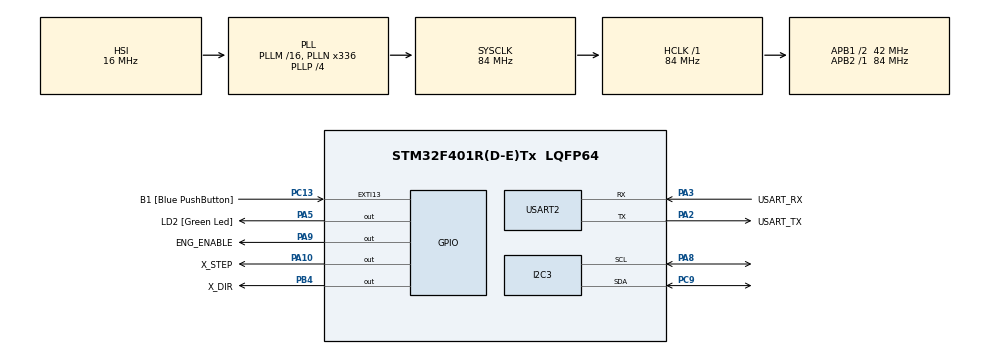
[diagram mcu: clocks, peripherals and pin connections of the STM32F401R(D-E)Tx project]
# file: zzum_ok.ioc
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FREERTOS.Tasks01=defaultTask,24,128,StartDefaultTask,Default,NULL,Dynamic,NULL,NULL;gcode_task,8,128,start_gcode_task,Default,NULL,Dynamic,NULL,NULL;encoder_task,8,128,start_encoder_task,Default,NULL,Dynamic,NULL,NULL;orzel_task,8,128,start_orzel_task,Default,NULL,Dynamic,NULL,NULL
FREERTOS.configUSE_NEWLIB_REENTRANT=1
Mcu.Family=STM32F4
Mcu.Name=STM32F401R(D-E)Tx
Mcu.Package=LQFP64
NVIC.PriorityGroup=NVIC_PRIORITYGROUP_4
NVIC.TIM2_IRQn=true\:15\:0\:false\:false\:true\:false\:false\:true\:true
NVIC.TimeBase=TIM2_IRQn
NVIC.TimeBaseIP=TIM2
PA10.GPIO_Label=X_STEP
PA10.Signal=GPIO_Output
PA13.GPIO_Label=TMS
PA13.Mode=Serial_Wire
PA13.Signal=SYS_JTMS-SWDIO
PA14.GPIO_Label=TCK
PA14.Mode=Serial_Wire
PA14.Signal=SYS_JTCK-SWCLK
PA2.GPIO_Label=USART_TX
PA2.GPIO_Mode=GPIO_MODE_AF_PP
PA2.GPIO_PuPd=GPIO_NOPULL
PA2.GPIO_Speed=GPIO_SPEED_FREQ_LOW
PA2.Mode=Asynchronous
PA2.Signal=USART2_TX
PA3.GPIO_Label=USART_RX
PA3.GPIO_Mode=GPIO_MODE_AF_PP
PA3.GPIO_PuPd=GPIO_NOPULL
PA3.GPIO_Speed=GPIO_SPEED_FREQ_LOW
PA3.Mode=Asynchronous
PA3.Signal=USART2_RX
PA5.GPIO_Label=LD2 [Green Led]
PA5.GPIO_Mode=GPIO_MODE_OUTPUT_PP
PA5.GPIO_PuPd=GPIO_NOPULL
PA5.GPIO_Speed=GPIO_SPEED_FREQ_LOW
PA5.Signal=GPIO_Output
PA8.GPIO_Pu=GPIO_PULLUP
PA8.Mode=I2C
PA8.Signal=I2C3_SCL
PA9.GPIO_Label=ENG_ENABLE
PA9.Signal=GPIO_Output
PB3.GPIO_Label=SWO
PB3.Signal=SYS_JTDO-SWO
PB4.GPIO_Label=X_DIR
PB4.Signal=GPIO_Output
PC13-ANTI_TAMP.GPIO_Label=B1 [Blue PushButton]
PC13-ANTI_TAMP.GPIO_ModeDefaultEXTI=GPIO_MODE_IT_FALLING
PC13-ANTI_TAMP.GPIO_PuPd=GPIO_NOPULL
PC13-ANTI_TAMP.Signal=GPXTI13
PC14-OSC32_IN.Mode=LSE-External-Oscillator
PC14-OSC32_IN.Signal=RCC_OSC32_IN
PC15-OSC32_OUT.Mode=LSE-External-Oscillator
PC15-OSC32_OUT.Signal=RCC_OSC32_OUT
PC9.GPIO_Pu=GPIO_PULLUP
PC9.Mode=I2C
PC9.Signal=I2C3_SDA
PH0\ -\ OSC_IN.Mode=HSE-External-Clock-Source
PH0\ -\ OSC_IN.Signal=RCC_OSC_IN
PH1\ -\ OSC_OUT.Mode=HSE-External-Clock-Source
PH1\ -\ OSC_OUT.Signal=RCC_OSC_OUT
ProjectManager.HeapSize=0x200
ProjectManager.StackSize=0x400
ProjectManager.TargetToolchain=STM32CubeIDE
RCC.48MHZClocksFreq_Value=48000000
RCC.AHBFreq_Value=84000000
RCC.APB1CLKDivider=RCC_HCLK_DIV2
RCC.APB1Freq_Value=42000000
RCC.APB1TimFreq_Value=84000000
RCC.APB2Freq_Value=84000000
RCC.APB2TimFreq_Value=84000000
RCC.CortexFreq_Value=84000000
RCC.HCLKFreq_Value=84000000
RCC.HSE_VALUE=8000000
RCC.HSI_VALUE=16000000
RCC.PLLN=336
RCC.PLLP=RCC_PLLP_DIV4
RCC.PLLQ=7
RCC.SYSCLKFreq_VALUE=84000000
RCC.SYSCLKSource=RCC_SYSCLKSOURCE_PLLCLK
RCC.VCOOutputFreq_Value=336000000
USART2.VirtualMode=VM_ASYNC
VP_FREERTOS_VS_CMSIS_V2.Mode=CMSIS_V2
VP_SYS_VS_tim2.Mode=TIM2
VP_TIM1_VS_ClockSourceINT.Mode=Internal
board=NUCLEO-F401RE

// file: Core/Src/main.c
/* USER CODE BEGIN Header */
/**
  ******************************************************************************
  * @file           : main.c
  * @brief          : Main program body
  ******************************************************************************
  * @attention
  *
  * Copyright (c) 2025 STMicroelectronics.
  * All rights reserved.
  *
  * This software is licensed under terms that can be found in the LICENSE file
  * in the root directory of this software component.
  * If no LICENSE file comes with this software, it is provided AS-IS.
  *
  ******************************************************************************
  */
/* USER CODE END Header */
#include "main.h"
#include "cmsis_os.h"
#include "as5600_hal.h"

I2C_HandleTypeDef hi2c3;

TIM_HandleTypeDef htim1;

UART_HandleTypeDef huart2;

/* Definitions for defaultTask */
osThreadId_t defaultTaskHandle;
const osThreadAttr_t defaultTask_attributes = {
  .name = "defaultTask",
  .stack_size = 128 * 4,
  .priority = (osPriority_t) osPriorityNormal,
};
/* Definitions for gcode_task */
osThreadId_t gcode_taskHandle;
const osThreadAttr_t gcode_task_attributes = {
  .name = "gcode_task",
  .stack_size = 128 * 4,
  .priority = (osPriority_t) osPriorityLow,
};
/* Definitions for encoder_task */
osThreadId_t encoder_taskHandle;
const osThreadAttr_t encoder_task_attributes = {
  .name = "encoder_task",
  .stack_size = 128 * 4,
  .priority = (osPriority_t) osPriorityLow,
};
/* Definitions for orzel_task */
osThreadId_t orzel_taskHandle;
const osThreadAttr_t orzel_task_attributes = {
  .name = "orzel_task",
  .stack_size = 128 * 4,
  .priority = (osPriority_t) osPriorityLow,
};
/* USER CODE BEGIN PV */
uint16_t raw;
/* USER CODE END PV */

void SystemClock_Config(void);
static void MX_GPIO_Init(void);
static void MX_USART2_UART_Init(void);
static void MX_I2C3_Init(void);
static void MX_TIM1_Init(void);
void StartDefaultTask(void *argument);
void start_gcode_task(void *argument);
void start_encoder_task(void *argument);
void start_orzel_task(void *argument);

int main(void)
{

  /* MCU Configuration--------------------------------------------------------*/

  /* Reset of all peripherals, Initializes the Flash interface and the Systick. */
  HAL_Init();

  /* Configure the system clock */
  SystemClock_Config();

  /* Initialize all configured peripherals */
  MX_GPIO_Init();
  MX_USART2_UART_Init();
  MX_I2C3_Init();
  MX_TIM1_Init();
  /* USER CODE BEGIN 2 */
  HAL_TIM_Base_Start(&htim1);
  /* USER CODE END 2 */

  /* Init scheduler */
  osKernelInitialize();

  /* Create the thread(s) */
  /* creation of defaultTask */
  defaultTaskHandle = osThreadNew(StartDefaultTask, NULL, &defaultTask_attributes);

  /* creation of gcode_task */
  gcode_taskHandle = osThreadNew(start_gcode_task, NULL, &gcode_task_attributes);

  /* creation of encoder_task */
  encoder_taskHandle = osThreadNew(start_encoder_task, NULL, &encoder_task_attributes);

  /* creation of orzel_task */
  orzel_taskHandle = osThreadNew(start_orzel_task, NULL, &orzel_task_attributes);

  /* Start scheduler */
  osKernelStart();

  /* We should never get here as control is now taken by the scheduler */

  /* Infinite loop */
  /* USER CODE BEGIN WHILE */

  while (1)
  {
	  for(int i=0; i < 32; i++){
		  HAL_GPIO_TogglePin(GPIOA, GPIO_PIN_10);
		  HAL_Delay(2);
	  }
	  HAL_Delay(20);
  	  if (AS5600_ReadRaw12(&raw))
  	  {
  		  printf("%u\r\n", raw);  // wypisz samą wartość surową
  	  }
  	  else
  	  {
  		  printf("error\r\n");
  	  }

    /* USER CODE END WHILE */

  }
}

void SystemClock_Config(void)
{
  RCC_OscInitTypeDef RCC_OscInitStruct = {0};
  RCC_ClkInitTypeDef RCC_ClkInitStruct = {0};

  /** Configure the main internal regulator output voltage
  */
  __HAL_RCC_PWR_CLK_ENABLE();
  __HAL_PWR_VOLTAGESCALING_CONFIG(PWR_REGULATOR_VOLTAGE_SCALE2);

  /** Initializes the RCC Oscillators according to the specified parameters
  * in the RCC_OscInitTypeDef structure.
  */
  RCC_OscInitStruct.OscillatorType = RCC_OSCILLATORTYPE_HSI;
  RCC_OscInitStruct.HSIState = RCC_HSI_ON;
  RCC_OscInitStruct.HSICalibrationValue = RCC_HSICALIBRATION_DEFAULT;
  RCC_OscInitStruct.PLL.PLLState = RCC_PLL_ON;
  RCC_OscInitStruct.PLL.PLLSource = RCC_PLLSOURCE_HSI;
  RCC_OscInitStruct.PLL.PLLM = 16;
  RCC_OscInitStruct.PLL.PLLN = 336;
  RCC_OscInitStruct.PLL.PLLP = RCC_PLLP_DIV4;
  RCC_OscInitStruct.PLL.PLLQ = 7;
  if (HAL_RCC_OscConfig(&RCC_OscInitStruct) != HAL_OK)
  {
    Error_Handler();
  }

  /** Initializes the CPU, AHB and APB buses clocks
  */
  RCC_ClkInitStruct.ClockType = RCC_CLOCKTYPE_HCLK|RCC_CLOCKTYPE_SYSCLK
                              |RCC_CLOCKTYPE_PCLK1|RCC_CLOCKTYPE_PCLK2;
  RCC_ClkInitStruct.SYSCLKSource = RCC_SYSCLKSOURCE_PLLCLK;
  RCC_ClkInitStruct.AHBCLKDivider = RCC_SYSCLK_DIV1;
  RCC_ClkInitStruct.APB1CLKDivider = RCC_HCLK_DIV2;
  RCC_ClkInitStruct.APB2CLKDivider = RCC_HCLK_DIV1;

  if (HAL_RCC_ClockConfig(&RCC_ClkInitStruct, FLASH_LATENCY_2) != HAL_OK)
  {
    Error_Handler();
  }
}

static void MX_I2C3_Init(void)
{

  hi2c3.Instance = I2C3;
  hi2c3.Init.ClockSpeed = 100000;
  hi2c3.Init.DutyCycle = I2C_DUTYCYCLE_2;
  hi2c3.Init.OwnAddress1 = 0;
  hi2c3.Init.AddressingMode = I2C_ADDRESSINGMODE_7BIT;
  hi2c3.Init.DualAddressMode = I2C_DUALADDRESS_DISABLE;
  hi2c3.Init.OwnAddress2 = 0;
  hi2c3.Init.GeneralCallMode = I2C_GENERALCALL_DISABLE;
  hi2c3.Init.NoStretchMode = I2C_NOSTRETCH_DISABLE;
  if (HAL_I2C_Init(&hi2c3) != HAL_OK)
  {
    Error_Handler();
  }

}

static void MX_TIM1_Init(void)
{

  TIM_ClockConfigTypeDef sClockSourceConfig = {0};
  TIM_MasterConfigTypeDef sMasterConfig = {0};

  htim1.Instance = TIM1;
  htim1.Init.Prescaler = 0;
  htim1.Init.CounterMode = TIM_COUNTERMODE_UP;
  htim1.Init.Period = 65535;
  htim1.Init.ClockDivision = TIM_CLOCKDIVISION_DIV1;
  htim1.Init.RepetitionCounter = 0;
  htim1.Init.AutoReloadPreload = TIM_AUTORELOAD_PRELOAD_DISABLE;
  if (HAL_TIM_Base_Init(&htim1) != HAL_OK)
  {
    Error_Handler();
  }
  sClockSourceConfig.ClockSource = TIM_CLOCKSOURCE_INTERNAL;
  if (HAL_TIM_ConfigClockSource(&htim1, &sClockSourceConfig) != HAL_OK)
  {
    Error_Handler();
  }
  sMasterConfig.MasterOutputTrigger = TIM_TRGO_RESET;
  sMasterConfig.MasterSlaveMode = TIM_MASTERSLAVEMODE_DISABLE;
  if (HAL_TIMEx_MasterConfigSynchronization(&htim1, &sMasterConfig) != HAL_OK)
  {
    Error_Handler();
  }

}

static void MX_USART2_UART_Init(void)
{

  huart2.Instance = USART2;
  huart2.Init.BaudRate = 115200;
  huart2.Init.WordLength = UART_WORDLENGTH_8B;
  huart2.Init.StopBits = UART_STOPBITS_1;
  huart2.Init.Parity = UART_PARITY_NONE;
  huart2.Init.Mode = UART_MODE_TX_RX;
  huart2.Init.HwFlowCtl = UART_HWCONTROL_NONE;
  huart2.Init.OverSampling = UART_OVERSAMPLING_16;
  if (HAL_UART_Init(&huart2) != HAL_OK)
  {
    Error_Handler();
  }

}

static void MX_GPIO_Init(void)
{
  GPIO_InitTypeDef GPIO_InitStruct = {0};

  /* GPIO Ports Clock Enable */
  __HAL_RCC_GPIOC_CLK_ENABLE();
  __HAL_RCC_GPIOH_CLK_ENABLE();
  __HAL_RCC_GPIOA_CLK_ENABLE();
  __HAL_RCC_GPIOB_CLK_ENABLE();

  /*Configure GPIO pin Output Level */
  HAL_GPIO_WritePin(GPIOA, LD2_Pin|ENG_ENABLE_Pin|X_STEP_Pin, GPIO_PIN_RESET);

  /*Configure GPIO pin Output Level */
  HAL_GPIO_WritePin(X_DIR_GPIO_Port, X_DIR_Pin, GPIO_PIN_RESET);

  /*Configure GPIO pin : B1_Pin */
  GPIO_InitStruct.Pin = B1_Pin;
  GPIO_InitStruct.Mode = GPIO_MODE_IT_FALLING;
  GPIO_InitStruct.Pull = GPIO_NOPULL;
  HAL_GPIO_Init(B1_GPIO_Port, &GPIO_InitStruct);

  /*Configure GPIO pins : LD2_Pin ENG_ENABLE_Pin X_STEP_Pin */
  GPIO_InitStruct.Pin = LD2_Pin|ENG_ENABLE_Pin|X_STEP_Pin;
  GPIO_InitStruct.Mode = GPIO_MODE_OUTPUT_PP;
  GPIO_InitStruct.Pull = GPIO_NOPULL;
  GPIO_InitStruct.Speed = GPIO_SPEED_FREQ_LOW;
  HAL_GPIO_Init(GPIOA, &GPIO_InitStruct);

  /*Configure GPIO pin : X_DIR_Pin */
  GPIO_InitStruct.Pin = X_DIR_Pin;
  GPIO_InitStruct.Mode = GPIO_MODE_OUTPUT_PP;
  GPIO_InitStruct.Pull = GPIO_NOPULL;
  GPIO_InitStruct.Speed = GPIO_SPEED_FREQ_LOW;
  HAL_GPIO_Init(X_DIR_GPIO_Port, &GPIO_InitStruct);

}

void StartDefaultTask(void *argument)
{
  for(;;)
  {
    osDelay(1);
  }
}

void start_gcode_task(void *argument)
{
  /* USER CODE BEGIN start_gcode_task */
  /* Infinite loop */
  for(;;)
  {
	  for(int i=0; i < 32; i++){
		  HAL_GPIO_TogglePin(GPIOA, GPIO_PIN_10);
		  osDelay(2);
	  }
	  osDelay(20);
  }
  /* USER CODE END start_gcode_task */
}

void start_encoder_task(void *argument)
{
  /* USER CODE BEGIN start_encoder_task */
  /* Infinite loop */
  for(;;)
  {
	  if (AS5600_ReadRaw12(&raw))
	  {
		  printf("%u\r\n", raw);  // wypisz samą wartość surową
	  }
	  else
	  {
		  printf("error\r\n");
	  }
	  osDelay(10);
  }
  /* USER CODE END start_encoder_task */
}

void start_orzel_task(void *argument)
{
  for(;;)
  {
    osDelay(1);
  }
}

void HAL_TIM_PeriodElapsedCallback(TIM_HandleTypeDef *htim)
{
  if (htim->Instance == TIM2) {
    HAL_IncTick();
  }
}

void Error_Handler(void)
{
  __disable_irq();
  while (1)
  {
  }
}
